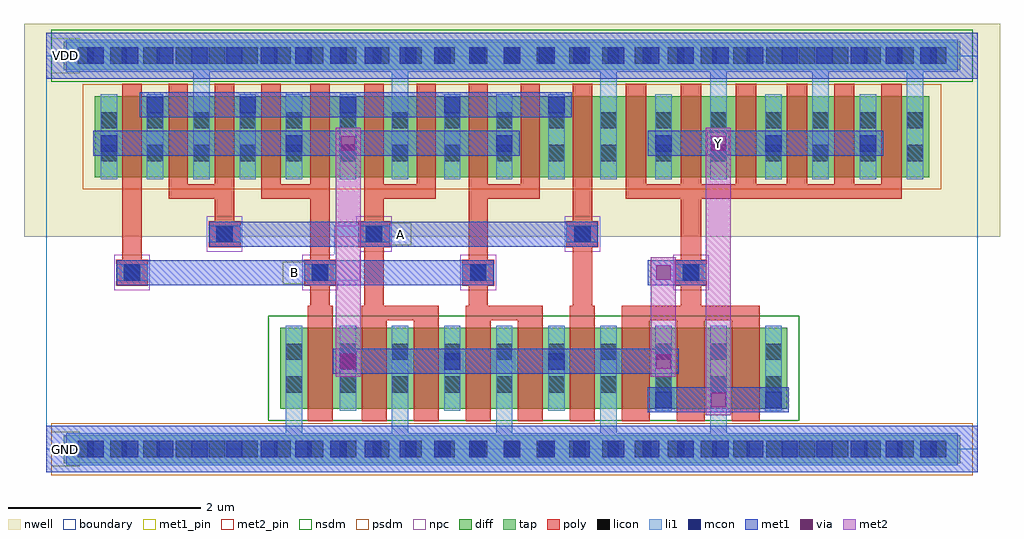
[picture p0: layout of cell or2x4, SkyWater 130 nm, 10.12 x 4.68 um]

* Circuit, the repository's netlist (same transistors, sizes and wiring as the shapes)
** sch_path: /foss/designs/or2x4.sch
.subckt or2x4 A B VDD GND Y
*.PININFO A:I B:I VDD:B GND:B Y:O
XM1 net1 A GND GND sky130_fd_pr__nfet_01v8 L=0.26 W=2.52 nf=3
XM3 net2 A VDD VDD sky130_fd_pr__pfet_01v8 L=0.2 W=4.2 nf=5
XM5 Y net1 VDD VDD sky130_fd_pr__pfet_01v8 L=0.21 W=5.04 nf=6
XM4 net1 B net2 VDD sky130_fd_pr__pfet_01v8 L=0.2 W=4.2 nf=5
XM2 net1 B GND GND sky130_fd_pr__nfet_01v8 L=0.26 W=2.52 nf=3
XM6 Y net1 GND GND sky130_fd_pr__nfet_01v8 L=0.29 W=2.52 nf=3
.ends

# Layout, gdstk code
import gdstk
lib = gdstk.Library(unit=1e-6, precision=1e-09)
def R(c, l, rs):  # rectangles x0, y0, x1, y1
    for r in rs: c.add(gdstk.rectangle(r[:2], r[2:], *l))
def A(c, l, x, y, w, h, nx, ny, dx, dy):  # array of equal rectangles
    R(c, l, [(x+i*dx, y+j*dy, x+i*dx+w, y+j*dy+h) for i in range(nx) for j in range(ny)])
nwell = (64, 20)
diff = (65, 20)
tap = (65, 44)
poly = (66, 20)
licon = (66, 44)
li1 = (67, 20)
mcon = (67, 44)
met1_pin = (68, 16)
met1 = (68, 20)
via = (68, 44)
met2_pin = (69, 16)
met2 = (69, 20)
nsdm = (93, 44)
psdm = (94, 20)
npc = (95, 20)
boundary = (235, 4)

or2x4 = lib.new_cell('or2x4')
R(or2x4, nwell, [(-0.23,2.2,9.89,4.41)])
R(or2x4, diff, [(2.425,0.42,7.685,1.26), (0.505,2.82,9.155,3.66)])
R(or2x4, tap, [(0.18,-0.145,9.48,0.145), (0.18,3.935,9.48,4.225)])
A(or2x4, poly, 3.27, 0.29, 0.26, 1.045, 4, 1, 0.54, 0)
A(or2x4, poly, 5.97, 0.29, 0.29, 1.045, 3, 1, 0.57, 0)
A(or2x4, poly, 1.27, 2.745, 0.2, 1.045, 3, 1, 0.48, 0)
A(or2x4, poly, 3.3, 2.745, 0.2, 1.045, 4, 1, 0.54, 0)
A(or2x4, poly, 6.01, 2.745, 0.21, 1.045, 3, 1, 0.57, 0)
A(or2x4, poly, 7.68, 2.745, 0.21, 1.045, 3, 1, 0.49, 0)
R(or2x4, poly, [(2.71,0.29,2.97,1.485), (5.43,0.29,5.69,1.485), (3.27,1.335,4.07,1.485), (4.35,1.335,5.15,1.485), (5.97,1.335,7.4,1.485), (2.74,1.485,2.94,1.695), (3.3,1.485,3.5,2.095), (4.38,1.485,4.58,1.695), (5.46,1.485,5.66,2.095), (6.58,1.485,6.79,1.695), (0.725,1.695,1.055,1.965), (2.675,1.695,3.005,1.965), (4.315,1.695,4.645,1.965), (6.52,1.695,6.85,1.965), (0.79,1.965,0.99,3.79), (2.74,1.965,2.94,2.595), (4.38,1.965,4.58,2.595), (6.58,1.965,6.79,2.595), (1.685,2.095,2.015,2.365), (3.235,2.095,3.565,2.365), (5.395,2.095,5.725,2.365), (1.75,2.365,1.95,2.595), (3.3,2.365,3.5,2.595), (5.46,2.365,5.66,3.79), (1.27,2.595,1.95,2.745), (2.23,2.595,2.94,2.745), (3.3,2.595,4.04,2.745), (4.38,2.595,5.12,2.745), (6.01,2.595,8.87,2.745), (2.74,2.745,2.94,3.79)])
A(or2x4, licon, 0.325, -0.085, 0.17, 0.17, 27, 2, 0.34, 4.08)
A(or2x4, licon, 3.045, 0.585, 0.17, 0.17, 6, 2, 0.54, 0.34)
A(or2x4, licon, 6.315, 0.585, 0.17, 0.17, 3, 2, 0.57, 0.34)
A(or2x4, licon, 0.565, 2.985, 0.17, 0.17, 5, 2, 0.48, 0.34)
A(or2x4, licon, 3.045, 2.985, 0.17, 0.17, 6, 2, 0.54, 0.34)
A(or2x4, licon, 6.315, 2.985, 0.17, 0.17, 3, 2, 0.57, 0.34)
A(or2x4, licon, 7.945, 2.985, 0.17, 0.17, 3, 2, 0.49, 0.34)
R(or2x4, licon, [(2.485,0.585,2.655,0.755), (2.485,0.925,2.655,1.095), (0.805,1.745,0.975,1.915), (2.755,1.745,2.925,1.915), (4.395,1.745,4.565,1.915), (6.6,1.745,6.77,1.915), (1.765,2.145,1.935,2.315), (3.315,2.145,3.485,2.315), (5.475,2.145,5.645,2.315)])
A(or2x4, li1, 3.585, 0.165, 0.17, 1.115, 3, 1, 1.08, 0)
A(or2x4, li1, 3.045, 0.4, 0.17, 0.88, 3, 1, 1.08, 0)
A(or2x4, li1, 4.125, 2.8, 0.17, 0.88, 3, 1, 0.54, 0)
R(or2x4, li1, [(0.21,-0.165,9.45,0.165), (2.485,0.165,2.655,1.28), (6.885,0.165,7.055,1.28), (6.315,0.4,6.485,1.28), (7.455,0.4,7.625,1.28), (0.725,1.745,1.055,1.915), (2.675,1.745,3.005,1.915), (4.315,1.745,4.645,1.915), (6.52,1.745,6.85,1.915), (1.685,2.145,2.015,2.315), (3.235,2.145,3.565,2.315), (5.395,2.145,5.725,2.315), (0.565,2.8,0.735,3.68), (1.045,2.8,1.215,3.68), (1.525,2.8,1.695,3.915), (2.005,2.8,2.175,3.68), (2.485,2.8,2.655,3.68), (3.045,2.8,3.215,3.68), (3.585,2.8,3.755,3.915), (5.745,2.8,5.915,3.915), (6.315,2.8,6.485,3.68), (6.885,2.8,7.055,3.915), (7.455,2.8,7.625,3.68), (7.945,2.8,8.115,3.915), (8.435,2.8,8.605,3.68), (8.925,2.8,9.095,3.915), (0.21,3.915,9.45,4.245)])
A(or2x4, mcon, 0.425, -0.085, 0.17, 0.17, 25, 2, 0.36, 4.08)
A(or2x4, mcon, 3.045, 0.825, 0.17, 0.17, 3, 2, 1.08, 2.66)
R(or2x4, mcon, [(6.315,0.425,6.485,0.595), (7.455,0.425,7.625,0.595), (0.805,1.745,0.975,1.915), (2.755,1.745,2.925,1.915), (4.395,1.745,4.565,1.915), (6.6,1.745,6.77,1.915), (1.765,2.145,1.935,2.315), (3.315,2.145,3.485,2.315), (5.475,2.145,5.645,2.315), (0.565,3.085,0.735,3.255), (2.485,3.085,2.655,3.255), (4.665,3.085,4.835,3.255), (6.315,3.085,6.485,3.255), (7.455,3.085,7.625,3.255), (8.435,3.085,8.605,3.255), (1.045,3.485,1.215,3.655), (2.005,3.485,2.175,3.655)])
R(or2x4, met1_pin, [(0.05,-0.18,0.35,0.18), (2.455,1.715,2.685,1.945), (3.555,2.115,3.785,2.345), (0.05,3.9,0.35,4.26)])
R(or2x4, met1, [(0,-0.24,9.66,0.24), (6.24,0.38,7.7,0.64), (2.97,0.78,6.56,1.04), (0.73,1.7,4.64,1.96), (6.24,1.7,6.845,1.96), (1.69,2.1,5.72,2.36), (0.49,3.04,4.91,3.3), (6.24,3.04,8.68,3.3), (0.97,3.44,5.45,3.7), (0,3.84,9.66,4.32)])
R(or2x4, via, [(6.895,0.435,7.045,0.585), (3.055,0.835,3.205,0.985), (6.325,0.835,6.475,0.985), (6.325,1.755,6.475,1.905), (3.055,3.095,3.205,3.245), (6.895,3.095,7.045,3.245)])
R(or2x4, met2_pin, [(6.855,3.055,7.085,3.285)])
R(or2x4, met2, [(6.84,0.35,7.1,3.33), (3,0.75,3.26,3.33), (6.27,0.75,6.53,1.99)])
R(or2x4, nsdm, [(2.3,0.295,7.81,1.385), (0.055,3.81,9.605,4.35)])
R(or2x4, psdm, [(0.055,-0.27,9.605,0.27), (0.38,2.695,9.28,3.785)])
R(or2x4, npc, [(0.705,1.645,1.075,2.015), (2.655,1.645,3.025,1.745), (4.295,1.645,4.665,2.015), (6.5,1.645,6.87,2.015), (2.655,1.745,3.255,2.015), (2.985,2.015,3.255,2.045), (1.665,2.045,2.035,2.415), (2.985,2.045,3.585,2.315), (5.375,2.045,5.745,2.415), (3.215,2.315,3.585,2.415)])
R(or2x4, boundary, [(0,0,9.66,4.08)])
or2x4.add(gdstk.Label('A', (3.67,2.23), layer=68, texttype=5))
or2x4.add(gdstk.Label('B', (2.57,1.83), layer=68, texttype=5))
or2x4.add(gdstk.Label('VDD', (0.2,4.08), layer=68, texttype=5))
or2x4.add(gdstk.Label('GND', (0.2,0), layer=68, texttype=5))
or2x4.add(gdstk.Label('Y', (6.97,3.17), layer=69, texttype=5))

lib.write_gds('or2x4.gds')
